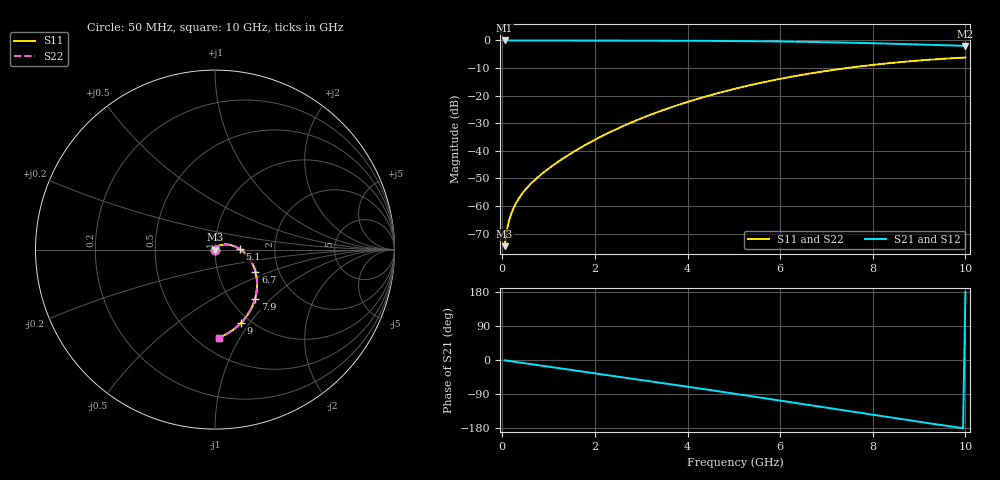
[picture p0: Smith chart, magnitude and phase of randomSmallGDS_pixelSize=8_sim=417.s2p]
! freq	dB(S11)	phase(S11)	dB(S12)	phase(S12)
!  dB(S21)	phase(S21)	dB(S22)	phase(S22)
!S-par simulation data
#  GHz  S  DB  R 50
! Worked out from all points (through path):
!   200 points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, 50 MHz to 10 GHz, reference 50 ohm
!   highest |S21| = 0.00 dB at 50 MHz (marker M1); lowest = -2.0 dB at 10 GHz (marker M2)
!   group delay of S21, straight-line fit = 50.6 ps
!   lowest |S11| = -74.5 dB at 50 MHz (marker M3), VSWR 1.00, Z = 50 + j0.0185 ohm
!   |S11| at or under -10 dB: start of sweep to 7.438 GHz
!   |S22| runs from -74.5 to -6.2 dB; largest |S21 - S12| = 0
!   S11 on the Smith chart (normalised r, x): 50 MHz: 1.00, +0.00; 5.1 GHz: 1.32, +0.01; 6.7 GHz: 1.52, -0.40; 7.9 GHz: 1.29, -0.81; 9 GHz: 0.91, -0.91; 10 GHz: 0.63, -0.82
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0.05  -74.52 79.5  -0.00 -0.9  -0.00 -0.9  -74.52 79.5
0.1  -68.57 83.7  -0.00 -1.8  -0.00 -1.8  -68.57 83.7
0.15  -65.04 84.6  -0.00 -2.6  -0.00 -2.6  -65.04 84.7
0.2  -62.50 84.8  -0.00 -3.5  -0.00 -3.5  -62.50 84.8
0.3  -58.86 84.2  -0.00 -5.3  -0.00 -5.3  -58.86 84.2
0.45  -55.06 82.6  -0.01 -7.9  -0.01 -7.9  -55.06 82.7
0.65  -51.36 80.0  -0.01 -11.4  -0.01 -11.4  -51.36 80.1
0.95  -47.05 75.7  -0.02 -16.6  -0.02 -16.6  -47.04 75.8
1.3  -42.88 70.1  -0.03 -22.7  -0.03 -22.7  -42.88 70.3
1.75  -38.27 62.5  -0.03 -30.5  -0.03 -30.5  -38.27 62.6
2.55  -31.46 48.1  -0.05 -44.5  -0.05 -44.5  -31.46 48.2
3.4  -25.67 32.5  -0.08 -59.6  -0.08 -59.6  -25.67 32.6
4.25  -21.00 16.8  -0.13 -74.9  -0.13 -74.9  -21.00 16.9
5.05  -17.39 2.1  -0.21 -89.6  -0.21 -89.6  -17.39 2.2
5.1  -17.19 1.1  -0.22 -90.5  -0.22 -90.5  -17.19 1.2
5.9  -14.24 -13.7  -0.35 -105.4  -0.35 -105.4  -14.24 -13.6
6.7  -11.82 -28.6  -0.54 -120.4  -0.54 -120.4  -11.82 -28.5
7.3  -10.31 -39.8  -0.73 -131.6  -0.73 -131.6  -10.31 -39.7
7.9  -9.04 -50.7  -0.96 -142.8  -0.96 -142.8  -9.04 -50.7
8.35  -8.24 -58.9  -1.15 -151.2  -1.15 -151.2  -8.24 -58.8
9  -7.27 -70.4  -1.46 -163.0  -1.46 -163.0  -7.27 -70.3
10  -6.18 -87.5  -1.95 179.2  -1.95 179.2  -6.18 -87.4
